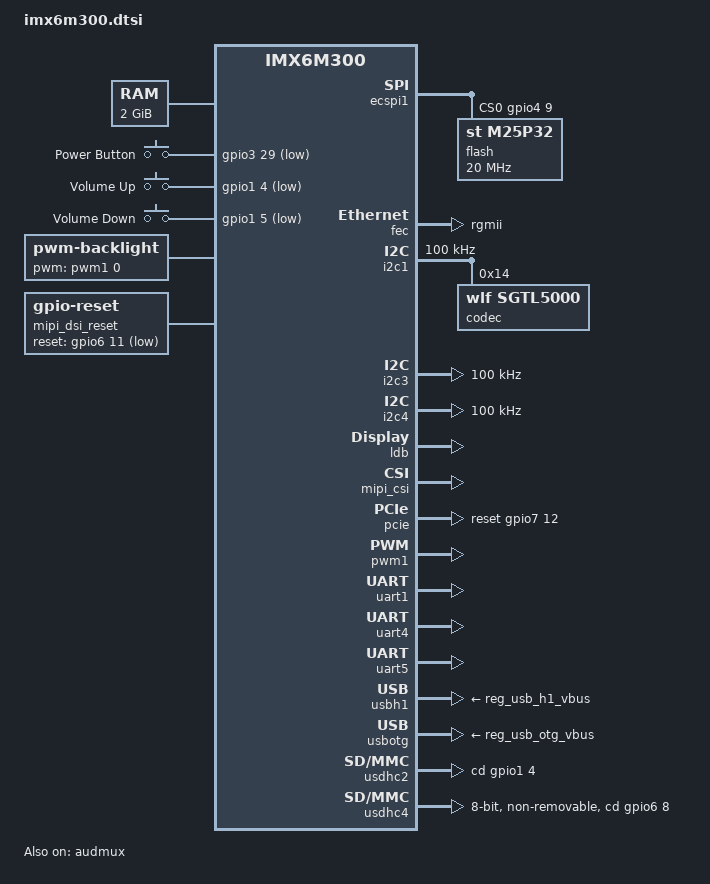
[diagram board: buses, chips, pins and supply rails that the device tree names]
/*
 * Copyright 2015 Megger Instruments, Ltd
 * Copyright 2012 Freescale Semiconductor, Inc.
 * Copyright 2011 Linaro Ltd.
 *
 * The code contained herein is licensed under the GNU General Public
 * License. You may obtain a copy of the GNU General Public License
 * Version 2 or later at the following locations:
 *
 * http://www.opensource.org/licenses/gpl-license.html
 * http://www.gnu.org/copyleft/gpl.html
 */

/ {
	aliases {
		mxcfb0 = &mxcfb1;
		mxcfb1 = &mxcfb2;
		mxcfb2 = &mxcfb3;
		mxcfb3 = &mxcfb4;
	};

	/*
	 * Mithras M300 has 2GB DDR3
	 */
	memory {
		reg = <0x10000000 0x80000000>;
	};
	//
	//	LVDS CABC Not implemented on M300
	//
	/*
	hannstar_cabc {
		compatible = "hannstar,cabc";

		lvds0 {
			gpios = <&gpio6 15 GPIO_ACTIVE_HIGH>;
		};

		lvds1 {
			gpios = <&gpio6 16 GPIO_ACTIVE_HIGH>;
		};
	};
	*/
	
	leds {
		compatible = "gpio-leds";

	};

	gpio-keys {
		compatible = "gpio-keys";
		power {
			label = "Power Button";
			gpios = <&gpio3 29 1>;
			linux,code = <116>; /* KEY_POWER */
			gpio-key,wakeup;
		};

		volume-up {
			label = "Volume Up";
			gpios = <&gpio1 4 1>;
			linux,code = <115>; /* KEY_VOLUMEUP */
		};

		volume-down {
			label = "Volume Down";
			gpios = <&gpio1 5 1>;
			linux,code = <114>; /* KEY_VOLUMEDOWN */
		};
	};
	//
	//	SGTL5000 Audio Codec, attached to AUD 3 (SSI3) and I2C 1
	//
	sound {
		compatible = "fsl,imxm300-sgtl5000",
			   "fsl,imx-audio-sgtl5000";
		model = "sgtl5000-audio";
		ssi-controller = <&ssi3>;
		audio-codec = <&codec>;
		audio-routing =
			"MIC_IN", "Mic Jack",
			"Mic Jack", "Mic Bias",
			"Headphone Jack", "HP_OUT";
		mux-int-port = <1>;
		mux-ext-port = <3>;
	};

	sound-hdmi {
		compatible = "fsl,imx6q-audio-hdmi",
			     "fsl,imx-audio-hdmi";
		model = "imx-audio-hdmi";
		hdmi-controller = <&hdmi_audio>;
	};
	//
	//	7" LVDS Display (800x480 - WVGA)
	//
	mxcfb1: fb@0 {
		compatible = "fsl,mxc_sdc_fb";
		disp_dev = "ldb";
		interface_pix_fmt = "RGB24";
		mode_str ="LVDS7-800x480";
		default_bpp = <24>;
		int_clk = <0>;
		late_init = <0>;
		status = "disabled";
	};

	mxcfb2: fb@1 {
		compatible = "fsl,mxc_sdc_fb";
		disp_dev = "hdmi";
		interface_pix_fmt = "RGB24";
		mode_str ="1920x1080M@60";
		default_bpp = <24>;
		int_clk = <0>;
		late_init = <0>;
		status = "disabled";
	};
	//
	//	4.3" Parallel RGB Display (480x272 - WQVGA)
	//
	mxcfb3: fb@2 {
		compatible = "fsl,mxc_sdc_fb";
		disp_dev = "lcd";
		interface_pix_fmt = "RGB24";
		mode_str ="LCD4.3-480x272";
		default_bpp = <24>;
		int_clk = <0>;
		late_init = <0>;
		status = "disabled";
	};
	//
	//	7" Parallel RGB Display (800x480 - WVGA)
	//
	mxcfb4: fb@3 {
		compatible = "fsl,mxc_sdc_fb";
		disp_dev = "lcd";
		interface_pix_fmt = "RGB24";
		mode_str ="LCD7-800x480";
		default_bpp = <24>;
		int_clk = <0>;
		late_init = <0>;
		status = "disabled";
	};
	//
	//	10" Parallel RGB Display (1024x600 - WSVGA)
	//
	mxcfb5: fb@4 {
		compatible = "fsl,mxc_sdc_fb";
		disp_dev = "lcd";
		interface_pix_fmt = "RGB24";
		mode_str = "LCD10-1024x600";
		default_bpp = <24>;
		int_clk = <0>;
		late_init = <0>;
		status = "disabled";
	};

	lcd@0 {
		compatible = "fsl,lcd";
		ipu_id = <0>;
		disp_id = <0>;
		default_ifmt = "RGB24";
		pinctrl-names = "default";
		pinctrl-0 = <&pinctrl_ipu1_1>;
		status = "okay";
	};

	backlight {
		compatible = "pwm-backlight";
		pwms = <&pwm1 0 5000000>;
		brightness-levels = <0 4 8 16 32 64 128 255>;
		default-brightness-level = <7>;
	};

	v4l2_cap_0 {
		compatible = "fsl,imx6q-v4l2-capture";
		ipu_id = <0>;
		csi_id = <0>;
		mclk_source = <0>;
		status = "okay";
	};

	v4l2_cap_1 {
		compatible = "fsl,imx6q-v4l2-capture";
		ipu_id = <0>;
		csi_id = <1>;
		mclk_source = <0>;
		status = "okay";
	};

	v4l2_out {
		compatible = "fsl,mxc_v4l2_output";
		status = "okay";
	};

	mipi_dsi_reset: mipi-dsi-reset {
		compatible = "gpio-reset";
		reset-gpios = <&gpio6 11 GPIO_ACTIVE_LOW>;
		reset-delay-us = <50>;
		#reset-cells = <0>;
	};
};

&audmux {
	pinctrl-names = "default";
	pinctrl-0 = <&pinctrl_audmux_1>;
	status = "okay";
};

&cpu0 {
	arm-supply = <&sw1a_reg>;
	soc-supply = <&sw1c_reg>;
	pu-supply = <&pu_dummy>; /* use pu_dummy if VDDSOC share with VDDPU */
};
//
//	SPI1 - With two select lines (ECSPI1_SS1 and ECSPI2_SS2) on M300 
//
//	M300 carrier board has 1MB NOR FLASH on SPI, as two 4Mb devices on
//	SS1 and SS2
//
&ecspi1 {
	fsl,spi-num-chipselects = <1>;
	cs-gpios = <&gpio4 9 0>;
	pinctrl-names = "default";
	pinctrl-0 = <&pinctrl_ecspi1_2>;
	status = "okay";

	flash: m25p80@0 {
		#address-cells = <1>;
		#size-cells = <1>;
		compatible = "st,m25p32";
		spi-max-frequency = <20000000>;
		reg = <0>;
	};
};

//
//	Fast Ethernet Connector - Implemented as 10/100Mbs on M300 (not 1Gbs); PHY is 
//	KSZ8081RNBIA
//
&fec {
	pinctrl-names = "default";
	pinctrl-0 = <&pinctrl_enet_1>;
	phy-mode = "rgmii";
	status = "okay";
};

//
//	General Power Controller
//
&gpc {
	fsl,cpu_pupscr_sw2iso = <0xf>;
	fsl,cpu_pupscr_sw = <0xf>;
	fsl,cpu_pdnscr_iso2sw = <0x1>;
	fsl,cpu_pdnscr_iso = <0x1>;
	fsl,ldo-bypass = <1>; /* use ldo-bypass, u-boot will check it and configure */
	fsl,wdog-reset = <2>; /* watchdog select of reset source */
	pu-supply = <&pu_dummy>; /* ldo-bypass:use pu_dummy if VDDSOC share with VDDPU */
};

//
//	Graphics Processor
//
&gpu {
	pu-supply = <&pu_dummy>; /* ldo-bypass:use pu_dummy if VDDSOC share with VDDPU */
};

//
//	Audio codec Control I2C - Port 1 Address 0x14
//
&i2c1 {
	clock-frequency = <100000>;
	pinctrl-names = "default";
	pinctrl-0 = <&pinctrl_i2c1_2>;
	status = "okay";

	codec: sgtl5000@14 {
		compatible = "wlf,sgtl5000";
		reg = <0x14>;
		clocks = <&clks 201>;
		amic-mono;
       };

};

//
//	I2C Port 3 - Goes to PCIe
//
&i2c3 {
        clock-frequency = <100000>;
        pinctrl-names = "default";
        pinctrl-0 = <&pinctrl_i2c3_2>;
        status = "okay";
};

//
//	I2C Port 4
//
&i2c4 {
        clock-frequency = <100000>;
        pinctrl-names = "default";
        pinctrl-0 = <&pinctrl_i2c4_2>;
        status = "okay";
};

&iomuxc {
	pinctrl-names = "default";
	pinctrl-0 = <&pinctrl_hog_1>;

	hog {
		pinctrl_hog_1: hoggrp-1 {
			fsl,pins = <
				MX6QDL_PAD_GPIO_4__GPIO1_IO04   0x80000000
				MX6QDL_PAD_GPIO_5__GPIO1_IO05   0x80000000
				MX6QDL_PAD_NANDF_D0__GPIO2_IO00 0x80000000
				MX6QDL_PAD_NANDF_D1__GPIO2_IO01 0x80000000
				MX6QDL_PAD_NANDF_D2__GPIO2_IO02 0x80000000
				MX6QDL_PAD_NANDF_D3__GPIO2_IO03 0x80000000
				MX6QDL_PAD_NANDF_ALE__GPIO6_IO08 0x80000000
				MX6QDL_PAD_NANDF_CLE__GPIO6_IO07 0x80000000
				MX6QDL_PAD_GPIO_0__CCM_CLKO1    0x130b0
				MX6QDL_PAD_NANDF_CS2__GPIO6_IO15 0x80000000
				MX6QDL_PAD_NANDF_CS3__GPIO6_IO16 0x80000000
				MX6QDL_PAD_EIM_D26__GPIO3_IO26 0x80000000
				MX6QDL_PAD_EIM_CS1__GPIO2_IO24 0x80000000
				MX6QDL_PAD_ENET_RXD0__GPIO1_IO27 0x80000000
				MX6QDL_PAD_EIM_A25__GPIO5_IO02 0x80000000
				MX6QDL_PAD_EIM_D23__GPIO3_IO23 0x80000000
				MX6QDL_PAD_ENET_TXD1__GPIO1_IO29 0x80000000
				MX6QDL_PAD_EIM_D22__GPIO3_IO22  0x80000000
				MX6QDL_PAD_NANDF_CS0__GPIO6_IO11 0x80000000
				MX6QDL_PAD_NANDF_CS1__GPIO6_IO14 0x80000000
				MX6QDL_PAD_EIM_EB3__GPIO2_IO31 0x80000000
				MX6QDL_PAD_EIM_D16__GPIO3_IO16 0x80000000
				MX6QDL_PAD_EIM_DA9__GPIO3_IO09 0x80000000
				MX6QDL_PAD_GPIO_4__GPIO1_IO04 0x80000000
				MX6QDL_PAD_GPIO_5__GPIO1_IO05 0x80000000
				MX6QDL_PAD_EIM_D29__GPIO3_IO29 0x80000000
				MX6QDL_PAD_SD3_RST__GPIO7_IO08 0x80000000
				MX6QDL_PAD_GPIO_9__GPIO1_IO09 0x80000000
				MX6QDL_PAD_GPIO_1__WDOG2_B 0x80000000
				MX6QDL_PAD_GPIO_2__GPIO1_IO02 0x80000000
			>;
		};
	};
};

&ldb {
	ipu_id = <1>;
	disp_id = <1>;
	ext_ref = <1>;
	mode = "sep1";
	sec_ipu_id = <1>;
	sec_disp_id = <0>;
	status = "okay";
};

//
//	MIPI Camera Interface
//
&mipi_csi {
	status = "okay";
	ipu_id = <0>;
	csi_id = <1>;
	v_channel = <0>;
	lanes = <2>;
};

//
//	MIPI Display Interface - Not available on M300
//
&mipi_dsi {
	dev_id = <0>;
	disp_id = <1>;
	lcd_panel = "TRULY-WVGA";
	disp-power-on-supply = <&reg_mipi_dsi_pwr_on>;
	resets = <&mipi_dsi_reset>;
	status = "disabled";
};

//
//	PCIe 
//
&pcie {
	power-on-gpio = <&gpio3 19 0>;
	reset-gpio = <&gpio7 12 0>;
	status = "okay";
};

//
//	PWM1 - LVDS Backlight Brightness Control 
//
&pwm1 {
	pinctrl-names = "default";
	pinctrl-0 = <&pinctrl_pwm1_1>;
	status = "okay";
};

//
//	SSI1 (I2S 1) - Not available on M300
//
&ssi1 {
	fsl,mode = "i2s-slave";
	status = "disabled";
};

//
//	UART1 - (M300 name UART0) - Debug console
//
&uart1 {
	pinctrl-names = "default";
	pinctrl-0 = <&pinctrl_uart1_2>;
	status = "okay";
};

//
//	UART4 - (M300 name UART1) - Instrument control
//
&uart4 {
	pinctrl-names = "default";
	pinctrl-0 = <pinctrl_uart4_1>;
	status = "okay";
};

//
//	UART5 - (M300 name UART2)
//
&uart5 {
	pinctrl-names = "default";
	pinctrl-0 = <pinctrl_uart5_1>;
	status = "okay";
};

//
//	USB H1 - USB2.0 Host port
//
&usbh1 {
	vbus-supply = <&reg_usb_h1_vbus>;
	status = "okay";
};

//
//	USB OTG - USB 2.0 OTG port
//
&usbotg {
	vbus-supply = <&reg_usb_otg_vbus>;
	pinctrl-names = "default";
	pinctrl-0 = <&pinctrl_usbotg_2>;
	disable-over-current;
	status = "okay";
};

//
//	uSD HC 2 - M300 Boot device on module (1 or 4-bit mode only)
//
&usdhc2 {
	pinctrl-names = "default";
	pinctrl-0 = <&pinctrl_usdhc2_1>;
	//
	//	Card detect (GPIO1-IO4) pulled low, no write protect
	//
	cd-gpios = <&gpio1 4 0>;
	//wp-gpios = <&gpio2 3 0>;
	no-1-8-v;
	keep-power-in-suspend;
	enable-sdio-wakeup;
	status = "okay";
};

//
//	uSD HC 3 - Not available on M300
//
&usdhc3 {
	pinctrl-names = "default";
	pinctrl-0 = <&pinctrl_usdhc3_1>;
	cd-gpios = <&gpio2 0 0>;
	wp-gpios = <&gpio2 1 0>;
	no-1-8-v;
	keep-power-in-suspend;
	enable-sdio-wakeup;
	status = "disabled";
};

//
//	uSD HC 4 - Extension SD card interface (1, 4 or 8-bit)
//
&usdhc4 {
        pinctrl-names = "default";
        pinctrl-0 = <&pinctrl_usdhc4_1>;
	cd-gpios = <&gpio6 8 0>;
        bus-width = <8>;
        non-removable;
        no-1-8-v;
	keep-power-in-suspend;
        status = "okay";
};

//
//	Video Processor
//
&vpu {
	pu-supply = <&pu_dummy>; /* ldo-bypass:use pu_dummy if VDDSOC share with VDDPU */
};
